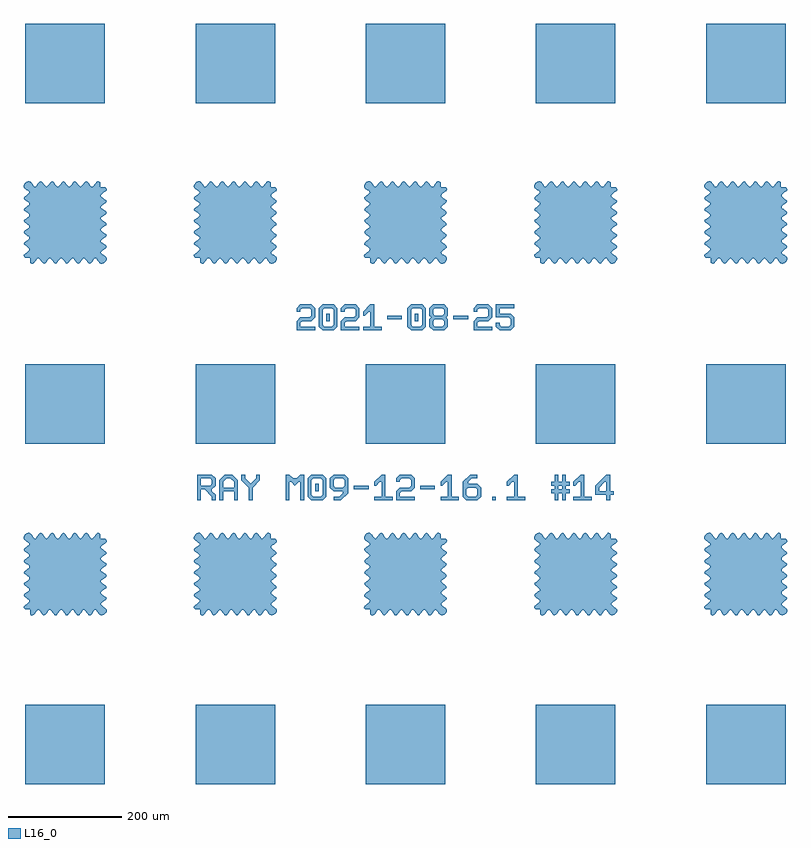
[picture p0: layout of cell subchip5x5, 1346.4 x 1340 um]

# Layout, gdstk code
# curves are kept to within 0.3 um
import gdstk
lib = gdstk.Library(unit=1e-6, precision=1e-09)
def R(c, l, rs):  # rectangles x0, y0, x1, y1
    for r in rs: c.add(gdstk.rectangle(r[:2], r[2:], *l))
def P(c, l, *ps):  # polygons
    for p in ps: c.add(gdstk.Polygon(p, *l))
L16_0 = (16, 0)

sqiggle_cell_1 = lib.new_cell('sqiggle_cell$1')
P(sqiggle_cell_1, L16_0, [(-58.667,-73),(-60.333,-72.181),(-62,-70.548),(-62,-62.198),(-70.746,-62.198),(-72.379,-60.531),(-73.198,-58.865),(-73.001,-57.198),(-71.694,-55.531),(-65.066,-50.531),(-63.49,-48.865),(-63.001,-47.198),(-63.893,-45.531),(-72.328,-38.865),(-73.001,-37.198),(-72.22,-35.531),(-63.724,-28.865),(-63.001,-27.198),(-63.753,-25.531),(-72.265,-18.865),(-73.001,-17.198),(-72.257,-15.531),(-63.74,-8.865),(-63.001,-7.198),(-63.742,-5.531),(-70.409,-0.532),(-72.26,1.135),(-73.001,2.802),(-72.26,4.469),(-63.742,11.137),(-63.001,12.803),(-63.741,14.469),(-70.405,19.466),(-72.258,21.134),(-73.001,22.803),(-72.264,24.473),(-63.75,31.145),(-63.001,32.803),(-63.728,34.455),(-72.228,41.104),(-73.001,42.803),(-72.313,44.523),(-63.861,51.256),(-63.001,52.803),(-63.543,54.271),(-69.793,58.855),(-71.814,60.69),(-73.001,62.803),(-73,65.21),(-71.963,67.69),(-70.166,69.968),(-67.888,71.765),(-65.408,72.802),(-63.001,72.803),(-60.888,71.616),(-54.469,63.345),(-53.001,62.803),(-51.454,63.663),(-44.721,72.115),(-43.001,72.803),(-41.302,72.03),(-34.653,63.53),(-33.001,62.803),(-31.343,63.552),(-24.671,72.066),(-23.001,72.803),(-21.332,72.06),(-14.667,63.543),(-13.001,62.803),(-11.335,63.544),(-4.667,72.062),(-3,72.803),(-1.333,72.062),(5.333,63.544),(7,62.803),(8.667,63.542),(15.333,72.059),(17,72.803),(18.667,72.067),(25.333,63.555),(27,62.803),(28.667,63.526),(35.333,72.022),(37,72.803),(38.667,72.13),(45.333,63.695),(47,62.803),(48.667,63.292),(50.333,64.868),(55.333,71.496),(57,72.803),(58.667,73),(60.333,72.181),(62,70.548),(62,62.198),(70.746,62.198),(72.379,60.531),(73.198,58.865),(73.001,57.198),(71.694,55.531),(65.066,50.531),(63.49,48.865),(63.001,47.198),(63.893,45.531),(72.328,38.865),(73.001,37.198),(72.22,35.531),(63.724,28.865),(63.001,27.198),(63.753,25.531),(72.265,18.865),(73.001,17.198),(72.257,15.531),(63.74,8.865),(63.001,7.198),(63.742,5.531),(70.409,0.532),(72.26,-1.135),(73.001,-2.802),(72.26,-4.469),(63.742,-11.137),(63.001,-12.803),(63.741,-14.469),(70.405,-19.466),(72.258,-21.134),(73.001,-22.803),(72.264,-24.473),(63.75,-31.145),(63.001,-32.803),(63.728,-34.455),(72.228,-41.104),(73.001,-42.803),(72.313,-44.523),(63.861,-51.256),(63.001,-52.803),(63.543,-54.271),(69.793,-58.855),(71.814,-60.69),(73.001,-62.803),(73,-65.21),(71.963,-67.69),(70.166,-69.968),(67.888,-71.765),(65.408,-72.802),(63.001,-72.803),(60.888,-71.616),(54.469,-63.345),(53.001,-62.803),(51.454,-63.663),(44.721,-72.115),(43.001,-72.803),(41.302,-72.03),(34.653,-63.53),(33.001,-62.803),(31.343,-63.552),(24.671,-72.066),(23.001,-72.803),(21.332,-72.06),(14.667,-63.543),(13.001,-62.803),(11.335,-63.544),(4.667,-72.062),(3,-72.803),(1.333,-72.062),(-5.333,-63.544),(-7,-62.803),(-8.667,-63.542),(-15.333,-72.059),(-17,-72.803),(-18.667,-72.067),(-25.333,-63.555),(-27,-62.803),(-28.667,-63.526),(-35.333,-72.022),(-37,-72.803),(-38.667,-72.13),(-45.333,-63.695),(-47,-62.803),(-48.667,-63.292),(-50.333,-64.868),(-55.333,-71.496),(-57,-72.803)])

rect_cell_1 = lib.new_cell('rect_cell$1')
R(rect_cell_1, L16_0, [(-70,-70,70,70)])

text_4 = lib.new_cell('TEXT$4')
R(text_4, L16_0, [(8,0,8.1,0.1), (3.2,0.25,3.3,0.45), (4.25,0.3,4.65,0.4), (6.05,0.3,6.45,0.4)])
P(text_4, L16_0, [(0,0),(0,0.7),(0.4,0.7),(0.5,0.6),(0.1,0.6),(0.1,0.4),(0.35,0.4),(0.4,0.45),(0.4,0.55),(0.35,0.6),(0.5,0.6),(0.5,0.4),(0.4,0.3),(0.4,0.25),(0.5,0.15),(0.5,0),(0.4,0),(0.4,0.1),(0.2,0.3),(0.1,0.3),(0.1,0)],
  [(0.6,0),(0.6,0.55),(0.75,0.7),(0.95,0.7),(1.05,0.6),(0.8,0.6),(0.7,0.5),(0.7,0.35),(1,0.35),(1,0.5),(0.9,0.6),(1.05,0.6),(1.1,0.55),(1.1,0),(1,0),(1,0.25),(0.7,0.25),(0.7,0)],
  [(1.4,0),(1.4,0.35),(1.2,0.55),(1.2,0.7),(1.3,0.7),(1.3,0.6),(1.45,0.45),(1.6,0.6),(1.6,0.7),(1.7,0.7),(1.7,0.55),(1.5,0.35),(1.5,0)],
  [(2.4,0),(2.4,0.7),(2.5,0.7),(2.6,0.6),(2.7,0.6),(2.8,0.7),(2.9,0.7),(2.9,0),(2.8,0),(2.8,0.5),(2.75,0.5),(2.65,0.4),(2.55,0.5),(2.5,0.5),(2.5,0)],
  [(3.1,0),(3,0.1),(3,0.6),(3.1,0.7),(3.4,0.7),(3.5,0.6),(3.15,0.6),(3.1,0.55),(3.1,0.15),(3.15,0.1),(3.35,0.1),(3.4,0.15),(3.4,0.55),(3.35,0.6),(3.5,0.6),(3.5,0.1),(3.4,0)],
  [(3.7,0),(3.7,0.1),(3.85,0.1),(3.95,0.2),(3.95,0.25),(3.7,0.25),(3.6,0.35),(3.95,0.35),(4,0.4),(4,0.55),(3.95,0.6),(3.75,0.6),(3.7,0.55),(3.7,0.4),(3.75,0.35),(3.6,0.35),(3.6,0.6),(3.7,0.7),(4,0.7),(4.1,0.6),(4.1,0.2),(3.9,0)],
  [(4.8,0),(4.8,0.1),(5,0.1),(5,0.5),(4.95,0.5),(4.85,0.4),(4.8,0.4),(4.8,0.5),(5,0.7),(5.1,0.7),(5.1,0.1),(5.3,0.1),(5.3,0)],
  [(5.4,0),(5.4,0.25),(5.5,0.35),(5.75,0.35),(5.8,0.4),(5.8,0.55),(5.75,0.6),(5.55,0.6),(5.5,0.55),(5.5,0.5),(5.4,0.5),(5.4,0.6),(5.5,0.7),(5.8,0.7),(5.9,0.6),(5.9,0.35),(5.8,0.25),(5.55,0.25),(5.5,0.2),(5.5,0.1),(5.9,0.1),(5.9,0)],
  [(6.6,0),(6.6,0.1),(6.8,0.1),(6.8,0.5),(6.75,0.5),(6.65,0.4),(6.6,0.4),(6.6,0.5),(6.8,0.7),(6.9,0.7),(6.9,0.1),(7.1,0.1),(7.1,0)],
  [(7.3,0),(7.2,0.1),(7.2,0.5),(7.4,0.7),(7.6,0.7),(7.6,0.6),(7.45,0.6),(7.35,0.5),(7.35,0.45),(7.6,0.45),(7.7,0.35),(7.35,0.35),(7.3,0.3),(7.3,0.15),(7.35,0.1),(7.55,0.1),(7.6,0.15),(7.6,0.3),(7.55,0.35),(7.7,0.35),(7.7,0.1),(7.6,0)],
  [(8.4,0),(8.4,0.1),(8.6,0.1),(8.6,0.5),(8.55,0.5),(8.45,0.4),(8.4,0.4),(8.4,0.5),(8.6,0.7),(8.7,0.7),(8.7,0.1),(8.9,0.1),(8.9,0)],
  [(9.7,0),(9.7,0.2),(9.6,0.2),(9.6,0.3),(9.7,0.3),(9.7,0.4),(9.6,0.4),(9.6,0.5),(9.7,0.5),(9.7,0.7),(9.8,0.7),(9.8,0.5),(9.9,0.5),(9.9,0.7),(10,0.7),(10,0.5),(10.1,0.5),(10.1,0.4),(10,0.4),(10,0.3),(10.1,0.3),(10.1,0.2),(10,0.2),(10,0),(9.9,0),(9.9,0.4),(9.8,0.4),(9.8,0.3),(9.9,0.3),(9.9,0.2),(9.8,0.2),(9.8,0)],
  [(10.2,0),(10.2,0.1),(10.4,0.1),(10.4,0.5),(10.35,0.5),(10.25,0.4),(10.2,0.4),(10.2,0.5),(10.4,0.7),(10.5,0.7),(10.5,0.1),(10.7,0.1),(10.7,0)],
  [(11.1,0),(11.1,0.15),(10.8,0.15),(10.8,0.25),(11.1,0.25),(11.1,0.5),(11.05,0.5),(10.9,0.35),(10.9,0.25),(10.8,0.25),(10.8,0.4),(11.1,0.7),(11.2,0.7),(11.2,0.25),(11.3,0.25),(11.3,0.15),(11.2,0.15),(11.2,0)])

text_3 = lib.new_cell('TEXT$3')
R(text_3, L16_0, [(0.8,0.25,0.9,0.45), (3.2,0.25,3.3,0.45), (2.45,0.3,2.85,0.4), (4.25,0.3,4.65,0.4)])
P(text_3, L16_0, [(0,0),(0,0.25),(0.1,0.35),(0.35,0.35),(0.4,0.4),(0.4,0.55),(0.35,0.6),(0.15,0.6),(0.1,0.55),(0.1,0.5),(0,0.5),(0,0.6),(0.1,0.7),(0.4,0.7),(0.5,0.6),(0.5,0.35),(0.4,0.25),(0.15,0.25),(0.1,0.2),(0.1,0.1),(0.5,0.1),(0.5,0)],
  [(0.7,0),(0.6,0.1),(0.6,0.6),(0.7,0.7),(1,0.7),(1.1,0.6),(0.75,0.6),(0.7,0.55),(0.7,0.15),(0.75,0.1),(0.95,0.1),(1,0.15),(1,0.55),(0.95,0.6),(1.1,0.6),(1.1,0.1),(1,0)],
  [(1.2,0),(1.2,0.25),(1.3,0.35),(1.55,0.35),(1.6,0.4),(1.6,0.55),(1.55,0.6),(1.35,0.6),(1.3,0.55),(1.3,0.5),(1.2,0.5),(1.2,0.6),(1.3,0.7),(1.6,0.7),(1.7,0.6),(1.7,0.35),(1.6,0.25),(1.35,0.25),(1.3,0.2),(1.3,0.1),(1.7,0.1),(1.7,0)],
  [(1.8,0),(1.8,0.1),(2,0.1),(2,0.5),(1.95,0.5),(1.85,0.4),(1.8,0.4),(1.8,0.5),(2,0.7),(2.1,0.7),(2.1,0.1),(2.3,0.1),(2.3,0)],
  [(3.1,0),(3,0.1),(3,0.6),(3.1,0.7),(3.4,0.7),(3.5,0.6),(3.15,0.6),(3.1,0.55),(3.1,0.15),(3.15,0.1),(3.35,0.1),(3.4,0.15),(3.4,0.55),(3.35,0.6),(3.5,0.6),(3.5,0.1),(3.4,0)],
  [(3.7,0),(3.6,0.1),(3.6,0.3),(3.65,0.35),(3.6,0.4),(3.6,0.6),(3.7,0.7),(4,0.7),(4.1,0.6),(3.75,0.6),(3.7,0.55),(3.7,0.45),(3.75,0.4),(3.95,0.4),(4,0.45),(4,0.55),(3.95,0.6),(4.1,0.6),(4.1,0.4),(4.05,0.35),(4.1,0.3),(3.75,0.3),(3.7,0.25),(3.7,0.15),(3.75,0.1),(3.95,0.1),(4,0.15),(4,0.25),(3.95,0.3),(4.1,0.3),(4.1,0.1),(4,0)],
  [(4.8,0),(4.8,0.25),(4.9,0.35),(5.15,0.35),(5.2,0.4),(5.2,0.55),(5.15,0.6),(4.95,0.6),(4.9,0.55),(4.9,0.5),(4.8,0.5),(4.8,0.6),(4.9,0.7),(5.2,0.7),(5.3,0.6),(5.3,0.35),(5.2,0.25),(4.95,0.25),(4.9,0.2),(4.9,0.1),(5.3,0.1),(5.3,0)],
  [(5.5,0),(5.4,0.1),(5.4,0.2),(5.5,0.2),(5.5,0.15),(5.55,0.1),(5.75,0.1),(5.8,0.15),(5.8,0.3),(5.75,0.35),(5.4,0.35),(5.4,0.7),(5.9,0.7),(5.9,0.6),(5.5,0.6),(5.5,0.45),(5.8,0.45),(5.9,0.35),(5.9,0.1),(5.8,0)])

subchip5x5 = lib.new_cell('subchip5x5')
r = gdstk.Reference(sqiggle_cell_1, (-750,-300)); r.repetition = gdstk.Repetition(5, 2, v1=(300,0), v2=(0,620)); subchip5x5.add(r)
r = gdstk.Reference(rect_cell_1, (-750,-600)); r.repetition = gdstk.Repetition(5, 3, v1=(300,0), v2=(0,600)); subchip5x5.add(r)
subchip5x5.add(gdstk.Reference(text_4, (-517.25,-170), magnification=65))
subchip5x5.add(gdstk.Reference(text_3, (-341.75,130), magnification=65))

lib.write_gds('subchip5x5.gds')
